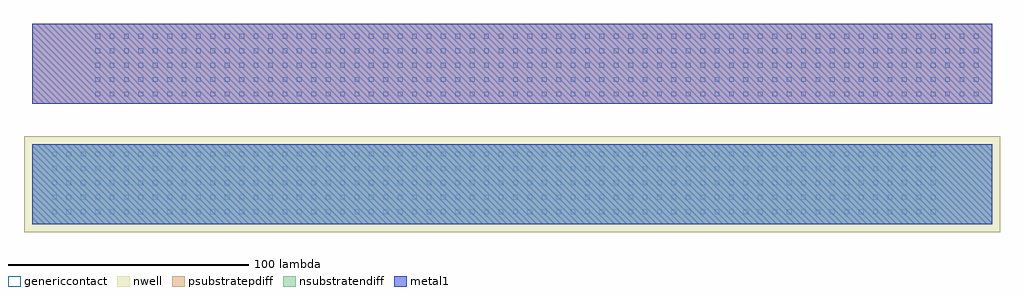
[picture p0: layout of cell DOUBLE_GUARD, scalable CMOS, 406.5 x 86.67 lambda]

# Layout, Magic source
magic
tech scmos
magscale 1 6
<< nwell >>
rect -20 -20 2419 220
<< psubstratepdiff >>
rect 0 300 2400 500
<< nsubstratendiff >>
rect 0 0 2400 200
<< metal1 >>
rect 0 300 2400 500
rect 0 0 2400 200
use CONT  CONT_0
array 0 61 36 0 4 36
transform 1 0 164 0 1 325
box -6 -6 6 6
use CONT  CONT_1
array 0 61 36 0 4 36
transform 1 0 56 0 1 31
box -6 -6 6 6
<< end >>

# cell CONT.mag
magic
tech scmos
<< genericcontact >>
rect -1 -1 1 1
<< end >>
